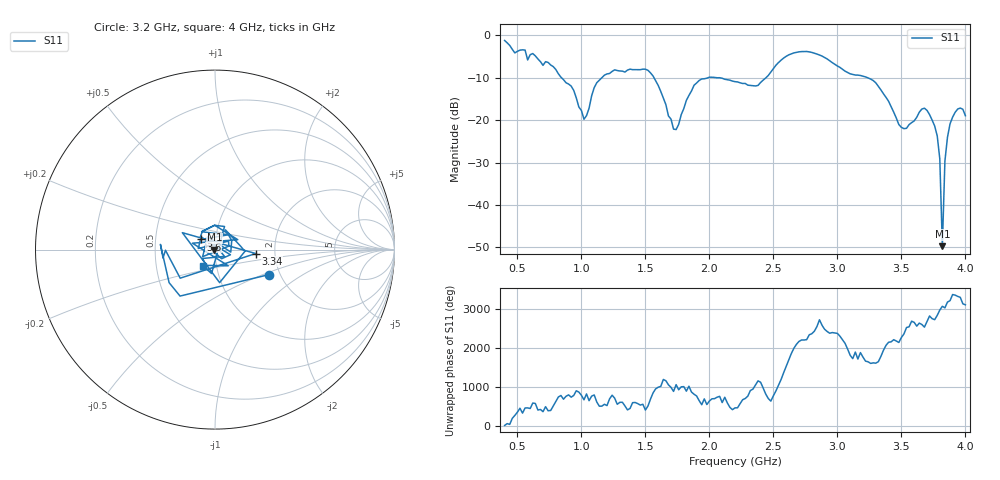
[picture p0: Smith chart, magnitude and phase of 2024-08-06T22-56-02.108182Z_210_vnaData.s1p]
!Created with skrf (http://scikit-rf.org).
# Hz S RI R 50.0
!freq ReS11 ImS11
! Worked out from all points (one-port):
!   181 points, 400 MHz to 4 GHz, reference 50 ohm
!   lowest |S11| = -49.7 dB at 3.82 GHz (marker M1), VSWR 1.01, Z = 49.7 - j0.0976 ohm
!   |S11| at or under -10 dB: 1.568 GHz to 1.988 GHz (420.2 MHz wide, 23.6 % of centre); 2.083 GHz to 2.442 GHz (358.6 MHz wide, 15.9 % of centre); 3.238 GHz to end of sweep (the widest 3 of 4)
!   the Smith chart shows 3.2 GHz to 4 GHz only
!   S11 on the Smith chart (normalised r, x): 3.2 GHz: 1.75, -0.55; 3.34 GHz: 1.58, -0.07; 3.6 GHz: 0.85, +0.10; 4 GHz: 0.86, -0.16
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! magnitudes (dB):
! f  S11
! 400 MHz  -1.2
! 860 MHz  -10.4
! 940 MHz  -13.0
! 1.02 GHz  -19.8
! 1.12 GHz  -11.2
! 1.3 GHz  -8.4
! 1.52 GHz  -8.2
! 1.6 GHz  -11.8
! 1.72 GHz  -22.1
! 1.76 GHz  -21.0
! 1.92 GHz  -10.6
! 2.2 GHz  -10.9
! 2.38 GHz  -11.8
! 2.66 GHz  -4.1
! 3.1 GHz  -9.1
! 3.2 GHz  -9.6
! 3.34 GHz  -12.9
! 3.48 GHz  -21.0
! 3.56 GHz  -21.0
! 3.6 GHz  -20.2
! 3.68 GHz  -17.2
! 3.78 GHz  -23.7
! 3.8 GHz  -29.1
! 3.82 GHz  -49.7
! 3.84 GHz  -29.6
! 3.86 GHz  -24.0
! 3.94 GHz  -17.4
! 4 GHz  -18.9
